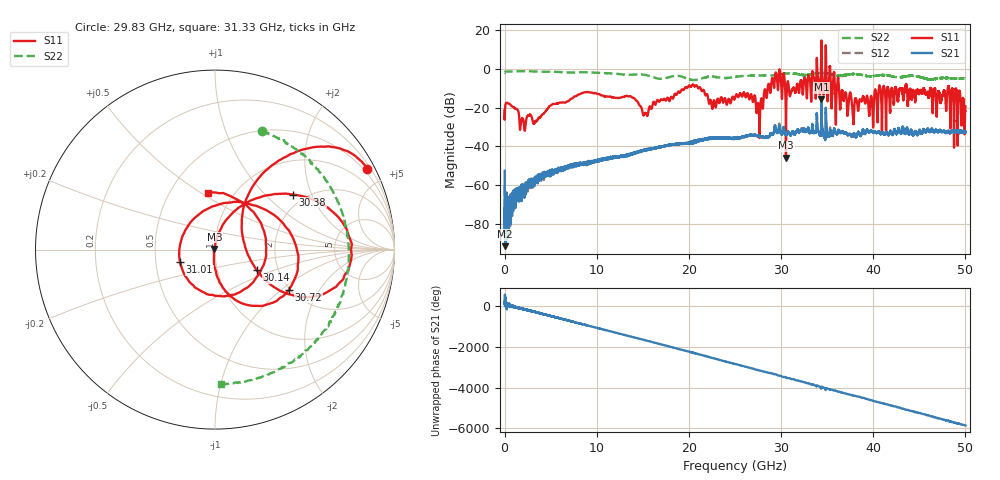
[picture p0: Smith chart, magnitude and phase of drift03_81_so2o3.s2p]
!Created with skrf (http://scikit-rf.org).
# Hz S RI R 50.0
!freq ReS11 ImS11 ReS21 ImS21 ReS12 ImS12 ReS22 ImS22
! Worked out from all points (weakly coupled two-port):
!   10001 points, 300 kHz to 50 GHz, reference 50 ohm
!   highest |S21| = -15.85 dB at 34.37 GHz (marker M1); lowest = -91.3 dB at 70.3 MHz (marker M2)
!   lowest |S11| = -45.8 dB at 30.53 GHz (marker M3), VSWR 1.01, Z = 49.6 + j0.363 ohm
!   |S11| at or under -10 dB: start of sweep to 19.55 GHz; 21.25 GHz to 28.55 GHz (7.297 GHz wide, 29.3 % of centre); 36.28 GHz to 40.61 GHz (4.327 GHz wide, 11.3 % of centre) (the widest 3 of 34)
!   |S22| runs from -5.9 to -1.3 dB; largest |S21 - S12| = 0.028
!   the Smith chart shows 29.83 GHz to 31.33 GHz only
!   S11 on the Smith chart (normalised r, x): 29.83 GHz: 0.38, +3.99; 30.14 GHz: 1.55, -0.38; 30.38 GHz: 1.73, +1.48; 30.72 GHz: 1.98, -1.13; 31.01 GHz: 0.67, -0.10; 31.33 GHz: 0.76, +0.54
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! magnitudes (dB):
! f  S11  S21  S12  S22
! 300 kHz  -21.5  -52.5  -60.8  -2.1
! 70.3 MHz  -19.3  -91.3  -71.3  -1.6
! 260.3 MHz  -17.6  -73.2  -80.6  -1.4
! 3.305 GHz  -27.2  -56.4  -56.0  -1.5
! 8.335 GHz  -12.6  -49.3  -49.0  -1.9
! 15.29 GHz  -22.8  -41.4  -41.7  -3.3
! 16.67 GHz  -16.5  -40.4  -40.4  -5.1
! 20.26 GHz  -9.1  -38.2  -38.1  -5.8
! 25 GHz  -15.2  -35.7  -35.6  -4.3
! 27.53 GHz  -17.8  -34.5  -34.4  -3.5
! 29.83 GHz  -0.4  -29.1  -28.6  -3.0
! 30.14 GHz  -11.7  -33.3  -33.6  -2.8
! 30.38 GHz  -5.5  -32.2  -32.3  -2.6
! 30.53 GHz  -45.8  -34.1  -34.2  -2.5
! 30.72 GHz  -6.6  -33.1  -32.8  -2.4
! 31.01 GHz  -13.7  -34.2  -34.2  -2.4
! 31.33 GHz  -9.9  -32.4  -32.5  -2.5
! 33.34 GHz  -7.5  -31.0  -31.1  -2.9
! 34.37 GHz  14.5  -15.9  -17.2  -2.2
! 37.87 GHz  -28.0  -33.7  -34.0  -2.7
! 41.67 GHz  -11.3  -33.9  -34.1  -3.6
! 50 GHz  -19.4  -32.4  -32.8  -4.9
